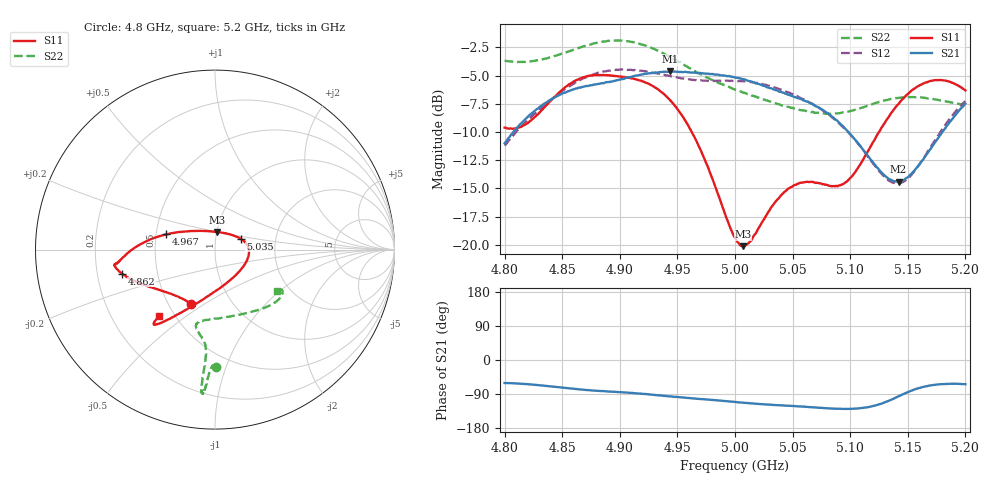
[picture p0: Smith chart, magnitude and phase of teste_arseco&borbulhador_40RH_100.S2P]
! Network Analyzer HP8722D
! Hewlett-Packard
! Data name: Linha & Wilkinson
! Saver's name: Rodrigo Anjos
! Comments: Teste da utilização de aquisição
! continua pelo VNA HP8722D
! Time and date: 15/4/2025 17:11
!  Frequency  S11  S21  S12  S22
# HZ  S  MA R 50
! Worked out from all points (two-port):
!   401 points, 4.8 GHz to 5.2 GHz, reference 50 ohm
!   highest |S21| = -4.63 dB at 4.944 GHz (marker M1); lowest = -14.4 dB at 5.142 GHz (marker M2)
!   |S21| within 3 dB of the highest: 4.833 GHz to 5.069 GHz (236.4 MHz wide, 4.78 % of centre); 5.19866 GHz to end of sweep
!   lowest |S11| = -20.1 dB at 5.007 GHz (marker M3), VSWR 1.22, Z = 50.1 + j9.92 ohm
!   |S11| at or under -10 dB: 4.962 GHz to 5.125 GHz (162.5 MHz wide, 3.22 % of centre)
!   |S22| runs from -8.4 to -1.9 dB; largest |S21 - S12| = 0.88
!   S11 on the Smith chart (normalised r, x): 4.8 GHz: 0.65, -0.44; 4.862 GHz: 0.31, -0.12; 4.967 GHz: 0.56, +0.10; 5.035 GHz: 1.32, +0.17; 5.2 GHz: 0.41, -0.40
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4.8e9  0.3307 -113.7  0.2819 -60.8  0.2749 -175.0  0.6538 -89.5
4.819e9  0.3444 -133.4  0.3647 -63.6  0.3526 -173.3  0.6484 -91.1
4.84e9  0.4346 -152.7  0.4394 -69.5  0.439 -173.5  0.6778 -92.5
4.862e9  0.5356 -165.5  0.493 -76.5  0.5276 -176.2  0.7397 -93.6
4.867e9  0.5492 -167.4  0.5006 -78.0  0.542 -177.3  0.754 -93.6
4.902e9  0.555 -172.1  0.5417 -85.1  0.5984 175.3  0.8034 -95.1
4.934e9  0.4852 -177.9  0.5823 -93.5  0.5731 172.0  0.7199 -95.6
4.944e9  0.4356 177.7  0.5871 -96.1  0.5589 172.2  0.6782 -95.3
4.967e9  0.2853 162.7  0.5777 -102.1  0.5356 174.0  0.582 -94.8
5e9  0.1075 107.4  0.5519 -110.7  0.5334 176.5  0.4876 -99.3
5.007e9  0.09867 83.9  0.5425 -112.5  0.5308 176.5  0.4725 -100.9
5.014e9  0.1044 61.7  0.5293 -114.6  0.5272 176.3  0.4617 -102.5
5.035e9  0.1549 23.2  0.4855 -118.9  0.4966 175.2  0.4243 -104.0
5.05e9  0.1817 7.3  0.4562 -121.5  0.4655 174.5  0.4046 -100.2
5.067e9  0.1902 -11.1  0.4215 -124.7  0.4223 174.1  0.3885 -92.0
5.087e9  0.1819 -43.5  0.3594 -128.5  0.3582 173.7  0.3824 -76.9
5.097e9  0.1906 -64.7  0.3215 -129.1  0.3208 174.6  0.3883 -68.5
5.134e9  0.3728 -115.9  0.1952 -106.9  0.192 -159.7  0.4414 -43.3
5.142e9  0.4211 -120.4  0.1906 -95.7  0.1874 -147.1  0.4486 -39.9
5.154e9  0.4861 -124.9  0.2089 -79.9  0.2072 -128.8  0.4514 -35.6
5.171e9  0.5337 -128.6  0.2723 -66.4  0.2773 -112.2  0.4432 -31.8
5.2e9  0.4835 -130.2  0.4225 -63.9  0.4339 -105.9  0.4154 -33.3
